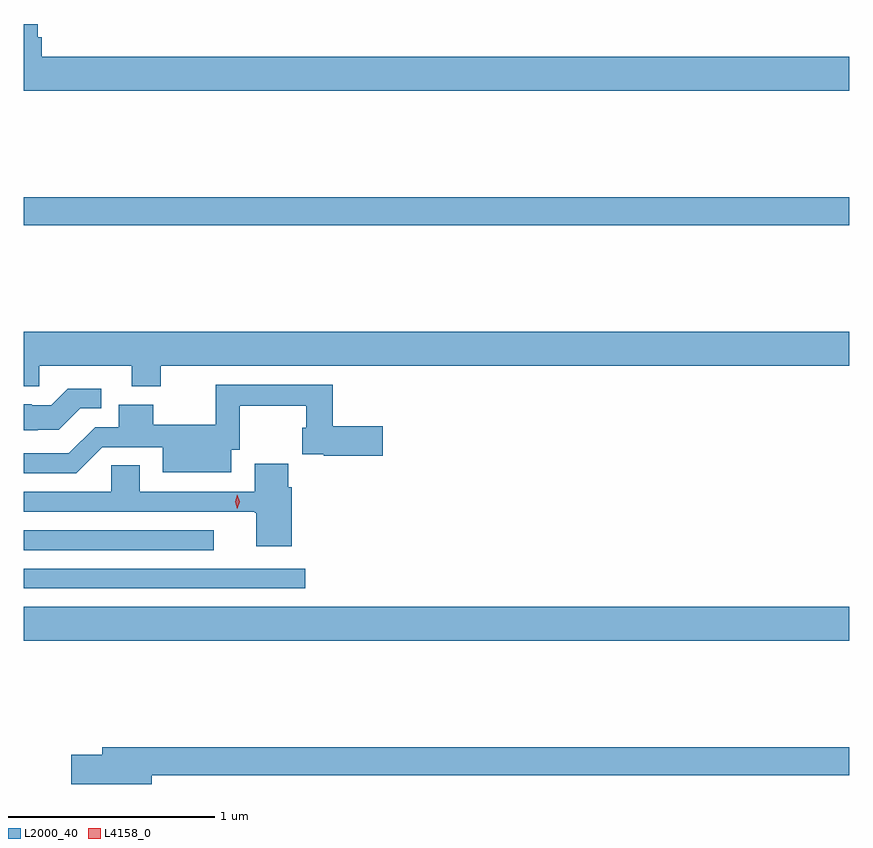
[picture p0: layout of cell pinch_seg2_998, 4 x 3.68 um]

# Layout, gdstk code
import gdstk
lib = gdstk.Library(unit=1e-6, precision=1e-09)
def R(c, l, rs):  # rectangles x0, y0, x1, y1
    for r in rs: c.add(gdstk.rectangle(r[:2], r[2:], *l))
def P(c, l, *ps):  # polygons
    for p in ps: c.add(gdstk.Polygon(p, *l))
L2000_40 = (2000, 40)
L4158_0 = (4158, 0)

pinch_seg2_998 = lib.new_cell('pinch_seg2_998')
R(pinch_seg2_998, L2000_40, [(347.366,594.356,351.366,594.52), (347.366,594.609,348.73,594.705), (347.366,594.795,348.286,594.891), (347.366,596.368,351.366,596.504)])
P(pinch_seg2_998, L2000_40, [(351.366,597.184),(347.453,597.184),(347.453,597.28),(347.434,597.28),(347.434,597.343),(347.366,597.343),(347.366,597.02),(351.366,597.02)],
  [(347.442,595.688),(347.891,595.688),(347.891,595.589),(348.031,595.589),(348.031,595.688),(351.366,595.688),(351.366,595.852),(347.366,595.852),(347.366,595.589),(347.442,595.589)],
  [(347.748,595.293),(348.041,595.293),(348.041,595.172),(348.373,595.172),(348.373,595.281),(348.412,595.281),(348.412,595.495),(348.735,595.495),(348.735,595.387),(348.715,595.387),(348.715,595.259),(348.82,595.259),(348.82,595.253),(349.105,595.253),(349.105,595.395),(348.863,595.395),(348.863,595.596),(348.298,595.596),(348.298,595.402),(347.994,595.402),(347.994,595.498),(347.828,595.498),(347.828,595.389),(347.712,595.389),(347.586,595.263),(347.366,595.263),(347.366,595.167),(347.622,595.167)],
  [(347.435,595.377),(347.536,595.377),(347.641,595.482),(347.743,595.482),(347.743,595.576),(347.58,595.576),(347.501,595.497),(347.405,595.497),(347.405,595.501),(347.366,595.501),(347.366,595.376),(347.435,595.376)],
  [(348.665,595.1),(348.648,595.1),(348.648,595.213),(348.485,595.213),(348.485,595.077),(347.929,595.077),(347.929,595.207),(347.79,595.207),(347.79,595.077),(347.366,595.077),(347.366,594.981),(348.485,594.981),(348.485,594.976),(348.494,594.976),(348.494,594.813),(348.665,594.813)],
  [(347.986,593.704),(351.366,593.704),(351.366,593.84),(347.747,593.84),(347.747,593.804),(347.598,593.804),(347.598,593.662),(347.986,593.662)])
P(pinch_seg2_998, L4158_0, [(348.401,594.994),(348.401,594.994),(348.392,595.029),(348.402,595.063),(348.402,595.063),(348.402,595.063),(348.412,595.028),(348.401,594.994)])

lib.write_gds('pinch_seg2_998.gds')
